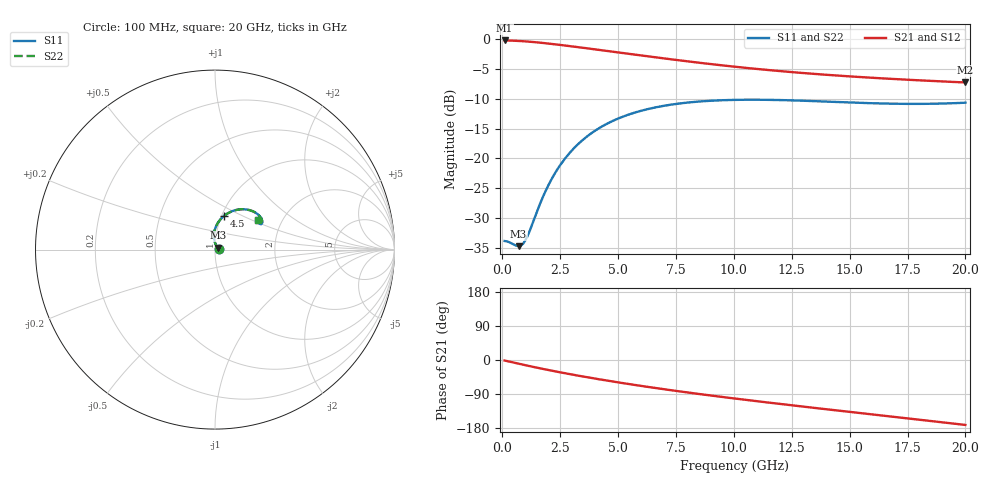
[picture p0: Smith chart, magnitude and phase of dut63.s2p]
! Created with skrf 1.9.0 (http://scikit-rf.org).
# GHz S RI R 50.0
!freq ReS11 ImS11 ReS21 ImS21 ReS12 ImS12 ReS22 ImS22
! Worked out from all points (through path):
!   200 points, 100 MHz to 20 GHz, reference 50 ohm
!   highest |S21| = -0.18 dB at 100 MHz (marker M1); lowest = -7.2 dB at 20 GHz (marker M2)
!   group delay of S21, straight-line fit = 22.6 ps
!   lowest |S11| = -34.8 dB at 700 MHz (marker M3), VSWR 1.04, Z = 51.5 + j1.08 ohm
!   |S11| at or under -10 dB: start of sweep to end of sweep
!   |S22| runs from -34.8 to -10.1 dB; largest |S21 - S12| = 2.9e-15
!   S11 on the Smith chart (normalised r, x): 100 MHz: 1.04, +0.00; 4.5 GHz: 1.03, +0.40; 20 GHz: 1.52, +0.55
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0.1  0.0202 0.000941  0.9792 -0.0236  0.9792 -0.0236  0.0202 0.000941
0.7  0.015 0.0105  0.9567 -0.1638  0.9567 -0.1638  0.015 0.0105
0.9  0.0117 0.0152  0.9426 -0.2078  0.9426 -0.2078  0.0117 0.0152
1  0.00989 0.018  0.9345 -0.2292  0.9345 -0.2292  0.00989 0.018
1.2  0.00622 0.0243  0.9165 -0.2703  0.9165 -0.2703  0.00622 0.0243
1.8  -0.00319 0.0495  0.8499 -0.3804  0.8499 -0.3804  -0.00319 0.0495
2  -0.00501 0.0598  0.8247 -0.4126  0.8247 -0.4126  -0.00501 0.0598
2.3  -0.006 0.0762  0.7849 -0.4566  0.7849 -0.4566  -0.006 0.0762
2.9  -0.000979 0.1106  0.7008 -0.5303  0.7008 -0.5303  -0.000979 0.1106
3.5  0.013 0.1437  0.6139 -0.5868  0.6139 -0.5868  0.013 0.1437
4  0.0301 0.1678  0.5414 -0.6223  0.5414 -0.6223  0.0301 0.1678
4.5  0.0506 0.1878  0.4699 -0.6485  0.4699 -0.6485  0.0506 0.1878
5.6  0.1011 0.2159  0.3204 -0.6784  0.3204 -0.6784  0.1011 0.2159
6.8  0.1541 0.2249  0.1745 -0.6772  0.1745 -0.6772  0.1541 0.2249
8.4  0.2093 0.214  0.012 -0.6398  0.012 -0.6398  0.2093 0.214
10.1  0.245 0.1904  -0.1231 -0.5745  -0.1231 -0.5745  0.245 0.1904
11.7  0.2604 0.1681  -0.2212 -0.5011  -0.2212 -0.5011  0.2604 0.1681
13.4  0.2632 0.1505  -0.3009 -0.4168  -0.3009 -0.4168  0.2632 0.1505
15  0.2584 0.1423  -0.3569 -0.3339  -0.3569 -0.3339  0.2584 0.1423
16.7  0.2505 0.1429  -0.3985 -0.2433  -0.3985 -0.2433  0.2505 0.1429
18.4  0.2438 0.1522  -0.4226 -0.1514  -0.4226 -0.1514  0.2438 0.1522
20  0.2417 0.1669  -0.4295 -0.0653  -0.4295 -0.0653  0.2417 0.1669
